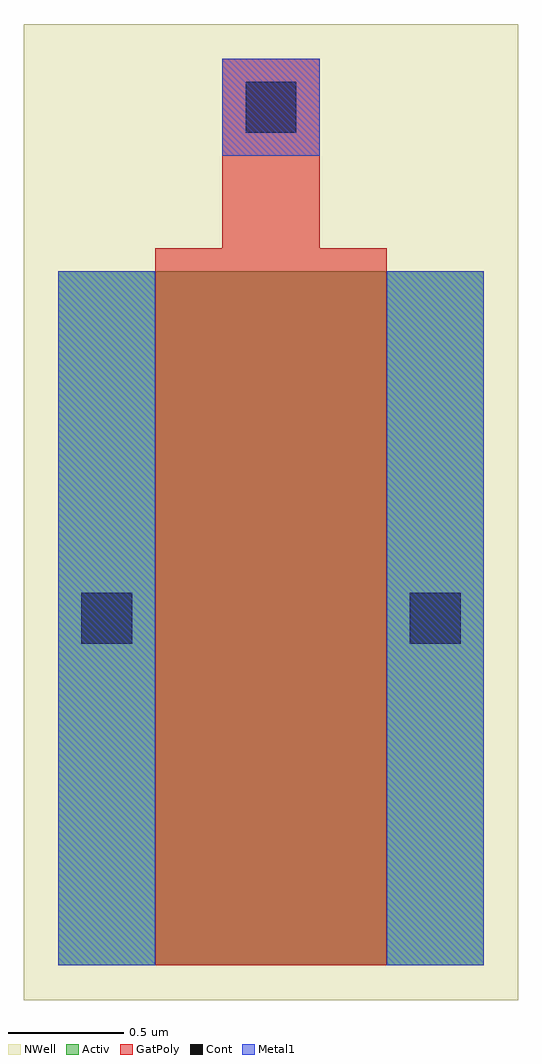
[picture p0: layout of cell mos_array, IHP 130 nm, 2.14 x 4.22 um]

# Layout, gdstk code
import gdstk
lib = gdstk.Library(unit=1e-6, precision=1e-09)
def R(c, l, rs):  # rectangles x0, y0, x1, y1
    for r in rs: c.add(gdstk.rectangle(r[:2], r[2:], *l))
Activ = (1, 0)
GatPoly = (5, 0)
Cont = (6, 0)
Metal1 = (8, 0)
NWell = (31, 0)

mos_array = lib.new_cell('mos_array')
R(mos_array, Activ, [(0,0,1.84,3)])
R(mos_array, GatPoly, [(0.42,0,1.42,3), (0.42,3,1.42,3.1), (0.71,3.1,1.13,3.92)])
R(mos_array, Cont, [(0.1,1.39,0.32,1.61), (1.52,1.39,1.74,1.61), (0.81,3.6,1.03,3.82)])
R(mos_array, Metal1, [(0,0,0.42,3), (1.42,0,1.84,3), (0.71,3.5,1.13,3.92)])
R(mos_array, NWell, [(-0.15,-0.15,1.99,4.07)])

lib.write_gds('mos_array.gds')
